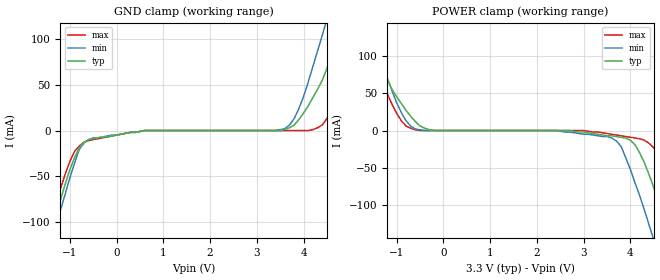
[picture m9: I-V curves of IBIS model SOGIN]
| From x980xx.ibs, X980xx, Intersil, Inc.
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|   SOGIN MODEL
[Model]   SOGIN
Model_type   Input
Vinl = 0.8Vc
Vinh = 2.5V
C_comp   3.355pF  3.227pF  3.485pF
|   typ   min   max
[Voltage Range]   3.3   3   3.6
[Temperature Range]  25   85   -40
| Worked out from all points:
|   POWER clamp passes 1 mA (typ) near -0.30 V on its own axis
[GND_Clamp]
|V   I(typ)   I(min)   I(max)
-3.3V     -564mA     -648mA     -481mA
-1.5V     -132mA     -146mA     -117mA
-1.4V     -112mA     -126mA     -99mA
-900mV    -30mA      -36mA      -23mA
-600mV    -10mA      -10mA      -11mA
3.6V      1mA        2mA        0A
3.9V      12mA       24mA       0A
4.3V      45mA       87mA       3mA
4.5V      68mA       122mA      13mA
4.8V      113mA      178mA      49mA
5.2V      185mA      258mA      112mA
6.6V      499mA      588mA      409mA
[Power_Clamp]
|V   I(typ)   I(min)   I(max)
-3.3V     499mA      511mA      488mA
-1.8V     166mA      178mA      147mA
-1.6V     131mA      140mA      112mA
-1.1V     55mA       53mA       35mA
-700mV    19mA       6mA        3mA
3.5V      -7mA       -8mA       -4mA
3.8V      -9mA       -21mA      -7mA
4.2V      -30mA      -87mA      -11mA
4.5V      -76mA      -146mA     -23mA
4.9V      -151mA     -235mA     -81mA
5.2V      -214mA     -310mA     -136mA
6.6V      -564mA     -757mA     -416mA
